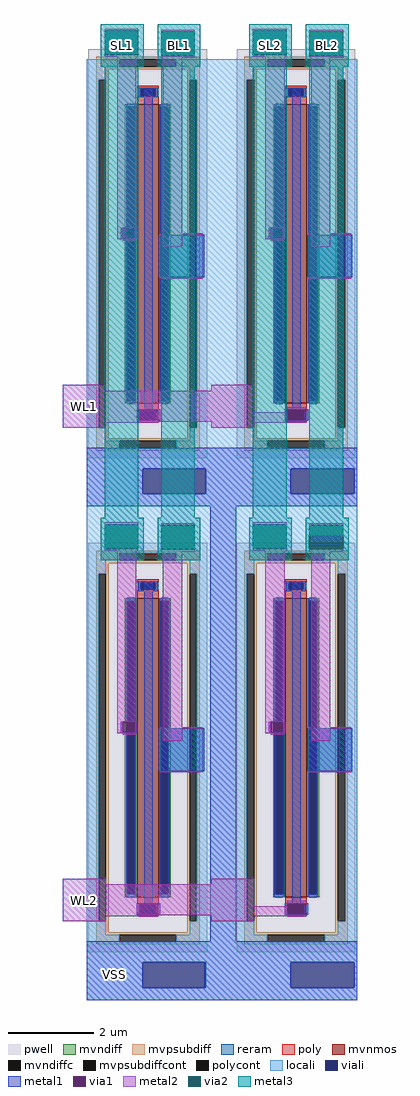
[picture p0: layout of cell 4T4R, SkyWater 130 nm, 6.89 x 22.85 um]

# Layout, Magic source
magic
tech sky130B
<< locali >>
rect 568 1686 634 2629
rect 573 1583 634 1686
rect 287 1473 920 1583
rect 573 564 634 1473
rect 573 427 642 564
<< metal1 >>
rect 567 1583 637 1720
rect 576 564 637 1583
rect 301 437 401 537
rect 562 427 642 564
<< metal2 >>
rect 231 1853 331 1867
rect 231 1781 662 1853
rect 231 1767 331 1781
rect 231 698 331 711
rect 231 626 672 698
rect 231 611 331 626
<< metal3 >>
rect 320 2612 420 2712
rect 453 2612 553 2712
rect 667 2612 767 2712
rect 800 2612 900 2712
rect 329 1478 408 2612
rect 461 1482 540 2612
rect 676 1483 755 2612
rect 808 1514 887 2612
use 1T1R  x1
transform 1 0 -25 0 1 1747
box 256 -164 598 965
use 1T1R  x2
transform 1 0 -25 0 1 591
box 256 -164 598 965
use 1T1R  x3
transform 1 0 322 0 1 1747
box 256 -164 598 965
use 1T1R  x4
transform 1 0 322 0 1 591
box 256 -164 598 965
<< labels >>
flabel metal3 800 2612 900 2712 0 FreeSans 128 0 0 0 BL2
port 2 nsew
flabel metal3 453 2612 553 2712 0 FreeSans 128 0 0 0 BL1
port 1 nsew
flabel metal2 231 611 331 711 0 FreeSans 128 0 0 0 WL2
port 4 nsew
flabel metal1 301 437 401 537 0 FreeSans 128 0 0 0 VSS
port 0 nsew
flabel metal3 667 2612 767 2712 0 FreeSans 128 0 0 0 SL2
port 6 nsew
flabel metal3 320 2612 420 2712 0 FreeSans 128 0 0 0 SL1
port 5 nsew
flabel metal2 231 1767 331 1867 0 FreeSans 128 0 0 0 WL1
port 3 nsew
<< end >>

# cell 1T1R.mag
magic
tech sky130B
<< locali >>
rect 312 -28 340 882
rect 570 -28 598 882
rect 312 -76 598 -28
rect 312 -135 443 -76
rect 591 -135 598 -76
rect 312 -164 598 -135
<< viali >>
rect 443 -135 591 -76
<< metal1 >>
rect 391 462 396 488
rect 425 462 430 488
rect 446 63 466 814
rect 429 36 434 63
rect 479 36 484 63
rect 312 -76 598 -27
rect 312 -135 443 -76
rect 591 -135 598 -76
rect 312 -164 598 -135
<< via1 >>
rect 396 462 425 488
rect 434 36 479 63
<< metal2 >>
rect 354 949 433 954
rect 354 888 433 893
rect 486 947 565 952
rect 383 488 428 888
rect 486 886 565 891
rect 383 462 396 488
rect 425 462 428 488
rect 383 461 428 462
rect 396 457 425 461
rect 490 443 535 886
rect 256 56 356 120
rect 434 63 479 68
rect 256 36 434 56
rect 256 32 479 36
rect 256 20 356 32
rect 434 31 479 32
<< via2 >>
rect 354 893 433 949
rect 486 891 565 947
<< metal3 >>
rect 345 949 445 965
rect 345 893 354 949
rect 433 893 445 949
rect 345 865 445 893
rect 478 947 578 965
rect 478 891 486 947
rect 565 891 578 947
rect 478 865 578 891
use sky130_fd_pr__nfet_g5v0d10v5_9YEQ2B  XM1 ~/Project/magic/ReRAM
transform 1 0 455 0 1 427
box -139 -479 139 479
use sky130_fd_pr_reram__reram_cell  XR1
transform 1 0 484 0 1 572
box -3 -203 103 -97
<< labels >>
flabel metal1 326 -154 426 -54 0 FreeSans 128 0 0 0 VSS
port 1 nsew
flabel metal2 256 20 356 120 0 FreeSans 128 0 0 0 WL
port 2 nsew
flabel metal3 345 865 445 965 0 FreeSans 128 0 0 0 SL
port 0 nsew
flabel metal3 478 865 578 965 0 FreeSans 128 0 0 0 BL
port 3 nsew
<< end >>

# cell sky130_fd_pr__nfet_g5v0d10v5_9YEQ2B: kit device sky130_fd_pr__nfet_g5v0d10v5, w 7.0 l 0.5 m 1 nf 1 diffcov 100 polycov 100 guard 1 glc 1 grc 1 gtc 1 gbc 1 tbcov 100 rlcov 100 topc 1 botc 1 poverlap 0 doverlap 1 lmin 0.50 wmin 0.42 compatible {sky130_fd_pr__nfet_01v8 sky130_fd_pr__nfet_01v8_lvt sky130_fd_bs_flash__special_sonosfet_star sky130_fd_pr__nfet_g5v0d10v5 sky130_fd_pr__nfet_05v0_nvt sky130_fd_pr__nfet_03v3_nvt} full_metal 1 viasrc 100 viadrn 100 viagate 100 viagb 0 viagr 0 viagl 0 viagt 0

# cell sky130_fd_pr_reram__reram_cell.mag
magic
tech sky130B
<< metal1 >>
rect -3 -200 103 -100
<< reram >>
rect 0 -200 100 -100
<< metal2 >>
rect 0 -100 100 -97
rect 0 -203 100 -200
<< labels >>
flabel reram 0 -200 100 -100 0 FreeSans 128 0 0 0 TE
port 0 nsew
flabel metal1 0 -200 100 -100 0 FreeSans 128 0 0 0 BE
port 1 nsew
<< end >>
